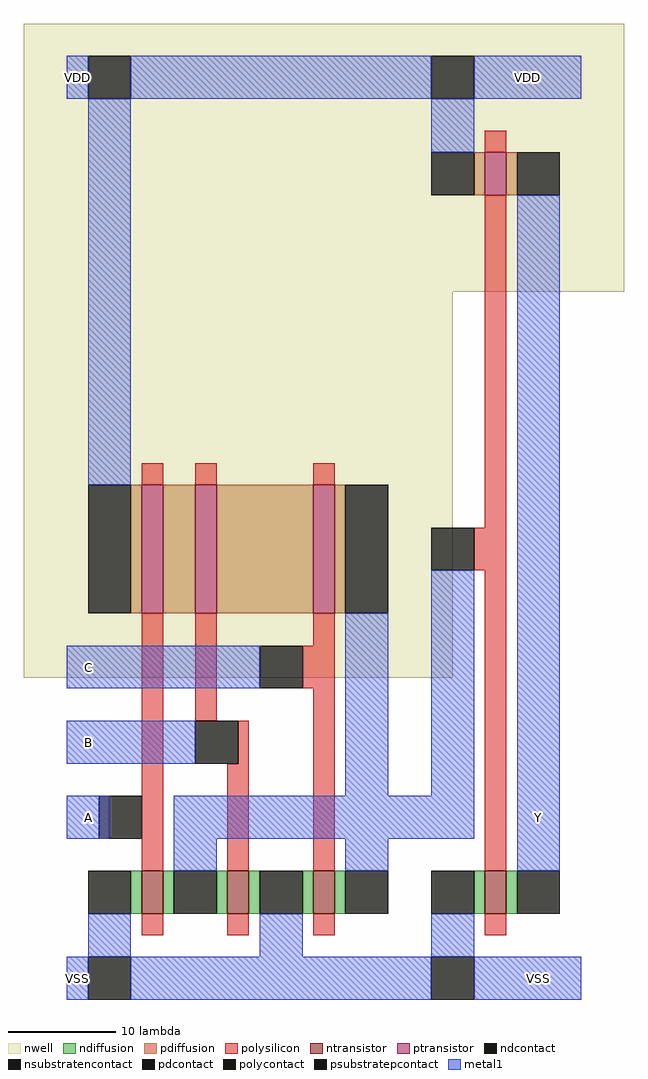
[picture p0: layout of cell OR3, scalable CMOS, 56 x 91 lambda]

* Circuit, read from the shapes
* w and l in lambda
.subckt OR3 A B C VDD VSS Y
M1 INV_0/A A VSS VSS nfet w=4 l=2
M2 VSS B INV_0/A VSS nfet w=4 l=2
M3 INV_0/A C VSS VSS nfet w=4 l=2
M4 Y INV_0/A VSS VSS nfet w=4 l=2
M5 n1 A VDD VDD pfet w=12 l=2
M6 n2 B n1 VDD pfet w=12 l=2
M7 INV_0/A C n2 VDD pfet w=12 l=2
M8 Y INV_0/A VDD VDD pfet w=4 l=2
.ends

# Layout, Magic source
magic
tech scmos
<< metal1 >>
rect 4 84 6 88
rect 45 84 50 88
rect 4 29 8 33
rect 4 22 8 26
rect 38 19 42 40
rect 4 15 8 19
rect 34 15 42 19
rect 46 15 50 19
rect 4 0 6 4
rect 46 0 50 4
use INV  INV_0
transform 1 0 36 0 1 0
box -4 0 20 91
use NOR3  NOR3_0
transform 1 0 4 0 1 0
box -4 0 36 91
<< labels >>
rlabel metal1 6 17 6 17 1 A
rlabel metal1 6 24 6 24 1 B
rlabel metal1 6 31 6 31 1 C
rlabel metal1 5 2 5 2 1 VSS
rlabel metal1 5 86 5 86 1 VDD
rlabel metal1 48 2 48 2 1 VSS
rlabel metal1 48 17 48 17 1 Y
rlabel metal1 47 86 47 86 1 VDD
<< end >>

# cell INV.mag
magic
tech scmos
<< nwell >>
rect -4 66 20 91
<< ntransistor >>
rect 7 8 9 12
<< ptransistor >>
rect 7 75 9 79
<< ndiffusion >>
rect 6 8 7 12
rect 9 8 10 12
<< pdiffusion >>
rect 6 75 7 79
rect 9 75 10 79
<< ndcontact >>
rect 2 8 6 12
rect 10 8 14 12
<< pdcontact >>
rect 2 75 6 79
rect 10 75 14 79
<< psubstratepcontact >>
rect 2 0 6 4
<< nsubstratencontact >>
rect 2 84 6 88
<< polysilicon >>
rect 7 79 9 81
rect 7 44 9 75
rect 6 40 9 44
rect 7 12 9 40
rect 7 6 9 8
<< polycontact >>
rect 2 40 6 44
<< metal1 >>
rect 0 84 2 88
rect 6 84 16 88
rect 2 79 6 84
rect 10 12 14 75
rect 2 4 6 8
rect 0 0 2 4
rect 6 0 16 4
<< labels >>
rlabel metal1 1 2 1 2 2 VSS
rlabel metal1 12 17 12 17 1 Y
rlabel metal1 1 86 1 86 4 VDD
rlabel polycontact 4 42 4 42 1 A
<< end >>

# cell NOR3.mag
magic
tech scmos
<< nwell >>
rect -4 30 36 91
<< ntransistor >>
rect 7 8 9 12
rect 15 8 17 12
rect 23 8 25 12
<< ptransistor >>
rect 7 36 9 48
rect 12 36 14 48
rect 23 36 25 48
<< ndiffusion >>
rect 6 8 7 12
rect 9 8 10 12
rect 14 8 15 12
rect 17 8 18 12
rect 22 8 23 12
rect 25 8 26 12
<< pdiffusion >>
rect 6 36 7 48
rect 9 36 12 48
rect 14 36 23 48
rect 25 36 26 48
<< ndcontact >>
rect 2 8 6 12
rect 10 8 14 12
rect 18 8 22 12
rect 26 8 30 12
<< pdcontact >>
rect 2 36 6 48
rect 26 36 30 48
<< psubstratepcontact >>
rect 2 0 6 4
<< nsubstratencontact >>
rect 2 84 6 88
<< polysilicon >>
rect 7 48 9 50
rect 12 48 14 50
rect 23 48 25 50
rect 7 12 9 36
rect 12 26 14 36
rect 23 33 25 36
rect 22 29 25 33
rect 16 22 17 26
rect 15 12 17 22
rect 23 12 25 29
rect 7 6 9 8
rect 15 6 17 8
rect 23 6 25 8
<< polycontact >>
rect 3 15 7 19
rect 18 29 22 33
rect 12 22 16 26
<< metal1 >>
rect 0 84 2 88
rect 6 84 32 88
rect 2 48 6 84
rect 0 29 18 33
rect 0 22 12 26
rect 26 19 30 36
rect 0 15 3 19
rect 10 15 30 19
rect 10 12 14 15
rect 26 12 30 15
rect 2 4 6 8
rect 18 4 22 8
rect 0 0 2 4
rect 6 0 32 4
<< labels >>
rlabel psubstratepcontact 4 2 4 2 1 VSS
rlabel metal1 28 18 28 18 1 Y
rlabel metal1 2 17 2 17 1 A
rlabel metal1 2 24 2 24 1 B
rlabel metal1 2 31 2 31 1 C
rlabel nsubstratencontact 4 86 4 86 1 VDD
<< end >>
